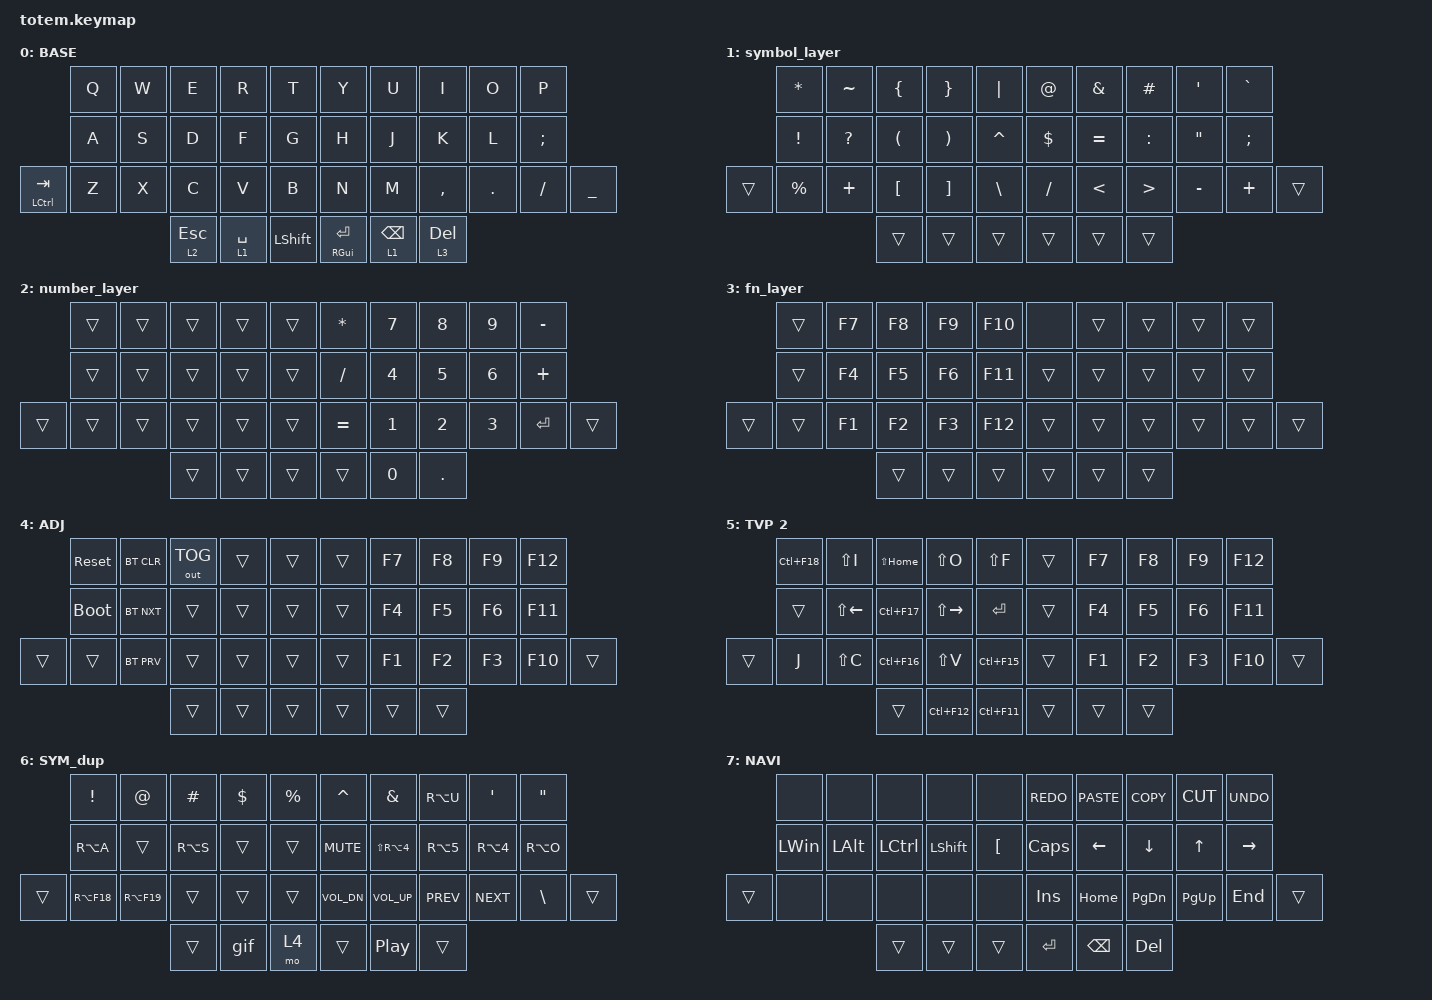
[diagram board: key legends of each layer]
//
//                                                        ▀▀▀▀▀     ▀▀▀▀▀          ▀▀█▀▀
//                                                        ▄▀▀▀▄  ▄  ▄▀▀▀▄  ▄  ▄▀▀▀▄  █  ▄▀▀▀▄
//                                                        █   █  █  █   █  █  █   █  █  █   █
//                                                         ▀▀▀   █   ▀▀▀   █   ▀▀▀   ▀   ▀▀▀
//                                                               █      ▄▄▄█▄▄▄    █   █  
//                                                               ▀      █  █  █     █▄█
//                                                             ▀▀▀▀▀    █  █  █      ▀
//                                                                      ▀  ▀  ▀
//
// ▄▄▄▄▄▄▄▄▄▄▄▄▄▄▄▄▄▄▄▄▄▄▄▄▄▄▄▄▄▄▄▄▄▄▄▄▄▄▄▄▄▄▄▄▄▄▄▄▄▄▄▄▄▄▄▄▄▄▄▄▄▄▄▄▄▄▄▄▄▄▄▄▄▄▄▄▄▄▄▄▄▄▄▄▄▄▄▄▄▄▄▄▄▄▄▄▄▄▄▄▄▄▄▄▄▄▄▄▄▄▄▄▄▄▄▄▄▄▄▄▄▄▄▄▄▄▄▄▄▄▄▄▄▄▄▄▄▄▄▄▄▄▄▄▄▄▄▄▄

#include <behaviors.dtsi>
#include <dt-bindings/zmk/bt.h>
#include <dt-bindings/zmk/keys.h>
#include <dt-bindings/zmk/outputs.h>

#define BASE 0
#define NAV  1
#define SYM  2
#define ADJ  3
#define TVP1 4
#define TVP2 5

/ {
    combos {
        compatible = "zmk,combos";

        combo_esc {
            timeout-ms = <50>;
            key-positions = <0 1>;
            bindings = <&kp ESC>;
        };

        combo_tvp {
            timeout-ms = <100>;
            key-positions = <11 12 13>;
            bindings = <&tog 0>;
        };
    };

    macros {
        gif: gif {
            label = "giphy";
            compatible = "zmk,behavior-macro";
            #binding-cells = <0>;
            bindings =
                <&macro_press>,
                <&kp LSHFT>,
                <&macro_tap>,
                <&kp N2>,
                <&macro_release>,
                <&kp LSHFT>,
                <&macro_tap>,
                <&kp G &kp I &kp F>;
        };
    };

    behaviors {
        tap_or_hold: tap_or_hold {
            compatible = "zmk,behavior-hold-tap";
            label = "TAP_OR_HOLD";
            bindings = <&to>, <&kp>;

            #binding-cells = <2>;
            tapping-term-ms = <60>;
        };
    };

    keymap {
        compatible = "zmk,keymap";

        // ▄▄▄▄▄▄▄▄▄▄▄▄▄▄▄▄▄▄▄▄▄▄▄▄▄▄▄▄▄▄▄▄▄▄▄▄▄▄▄▄▄▄▄▄▄▄▄▄▄▄▄▄▄▄▄▄▄▄▄▄▄▄▄▄▄▄▄▄▄▄▄▄▄▄▄▄▄▄▄▄▄▄▄▄▄▄▄▄▄▄▄▄▄▄▄▄▄▄▄▄▄▄▄▄▄▄▄▄▄▄▄▄▄▄▄▄▄▄▄▄▄▄▄▄▄▄▄▄▄▄▄▄▄▄▄▄▄▄▄▄▄▄▄▄▄▄▄▄▄

        base_layer {
            // ┏━━━━━━━━━━━━━━━━━━━━━━━━━━━━━━━━━━━━━━━┓

            label = "BASE";

            // ┗━━━━━━━━━━━━━━━━━━━━━━━━━━━━━━━━━━━━━━━┛
            //             ┏━━━━━━━━━━━┳━━━━━━━━━━━┳━━━━━━━━━━━┳━━━━━━━━━━━┳━━━━━━━━━━━┓   ┏━━━━━━━━━━━┳━━━━━━━━━━━┳━━━━━━━━━━━┳━━━━━━━━━━━┳━━━━━━━━━━━┓
            //             ┃     Q     ┃     W     ┃     F     ┃     P     ┃     G     ┃   ┃     J     ┃     L     ┃     U     ┃     Y     ┃     ;     ┃
            //             ┣━━━━━━━━━━━╋━━━━━━━━━━━╋━━━━━━━━━━━╋━━━━━━━━━━━╋━━━━━━━━━━━┫   ┣━━━━━━━━━━━╋━━━━━━━━━━━╋━━━━━━━━━━━╋━━━━━━━━━━━╋━━━━━━━━━━━┫
            //             ┃     A     ┃     R     ┃     S     ┃     T     ┃     D     ┃   ┃     H     ┃     N     ┃     E     ┃     I     ┃     O     ┃
            // ┏━━━━━━━━━━━╋━━━━━━━━━━━╋━━━━━━━━━━━╋━━━━━━━━━━━╋━━━━━━━━━━━╋━━━━━━━━━━━┫   ┣━━━━━━━━━━━╋━━━━━━━━━━━╋━━━━━━━━━━━╋━━━━━━━━━━━╋━━━━━━━━━━━╋━━━━━━━━━━━┓
            // ┃     Q     ┃     Z     ┃     X     ┃     C     ┃     V     ┃     B     ┃   ┃     K     ┃     M     ┃     ,     ┃     .     ┃     /     ┃     \     ┃
            // ┗━━━━━━━━━━━┻━━━━━━━━━━━┻━━━━━━━━━━━╋━━━━━━━━━━━╋━━━━━━━━━━━╋━━━━━━━━━━━┫   ┣━━━━━━━━━━━╋━━━━━━━━━━━╋━━━━━━━━━━━╋━━━━━━━━━━━┻━━━━━━━━━━━┻━━━━━━━━━━━┛
            //                                     ┃    DEL    ┃    TAB    ┃    SPC    ┃   ┃   ENTER   ┃           ┃   BSPC    ┃
            //                                     ┗━━━━━━━━━━━┻━━━━━━━━━━━┻━━━━━━━━━━━┛   ┗━━━━━━━━━━━┻━━━━━━━━━━━┻━━━━━━━━━━━┛

            bindings = <
                      &kp Q  &kp W  &kp E         &kp R        &kp T             &kp Y                &kp U            &kp I         &kp O    &kp P
                      &kp A  &kp S  &kp D         &kp F        &kp G             &kp H                &kp J            &kp K         &kp L    &kp SEMI
&mt LEFT_CONTROL TAB  &kp Z  &kp X  &kp C         &kp V        &kp B             &kp N                &kp M            &kp COMMA     &kp DOT  &kp FSLH  &kp UNDERSCORE
                                    &lt 2 ESCAPE  &lt 1 SPACE  &kp LEFT_SHIFT    &mt RIGHT_GUI ENTER  &lt 1 BACKSPACE  &lt 3 DELETE
            >;
        };

        symbol_layer {
            bindings = <
        &kp ASTERISK  &kp TILDE     &kp LEFT_BRACE        &kp RIGHT_BRACE        &kp PIPE         &kp AT_SIGN  &kp AMPERSAND  &kp HASH          &kp SINGLE_QUOTE   &kp GRAVE
        &kp EXCL      &kp QUESTION  &kp LEFT_PARENTHESIS  &kp RIGHT_PARENTHESIS  &kp CARET        &kp DOLLAR   &kp EQUAL      &kp COLON         &kp DOUBLE_QUOTES  &kp SEMI
&trans  &kp PERCENT   &kp PLUS      &kp LEFT_BRACKET      &kp RIGHT_BRACKET      &kp BACKSLASH    &kp SLASH    &kp LESS_THAN  &kp GREATER_THAN  &kp MINUS          &kp PLUS   &trans
                                    &trans                &trans                 &trans           &trans       &trans         &trans
            >;
        };

        number_layer {
            bindings = <
        &trans  &trans  &trans  &trans  &trans    &kp ASTRK  &kp N7  &kp N8      &kp N9  &kp MINUS
        &trans  &trans  &trans  &trans  &trans    &kp FSLH   &kp N4  &kp N5      &kp N6  &kp PLUS
&trans  &trans  &trans  &trans  &trans  &trans    &kp EQUAL  &kp N1  &kp N2      &kp N3  &kp ENTER  &trans
                        &trans  &trans  &trans    &trans     &kp N0  &kp PERIOD
            >;
        };

        fn_layer {
            bindings = <
        &trans  &kp F7  &kp F8  &kp F9  &kp F10    &none   &trans  &trans  &trans  &trans
        &trans  &kp F4  &kp F5  &kp F6  &kp F11    &trans  &trans  &trans  &trans  &trans
&trans  &trans  &kp F1  &kp F2  &kp F3  &kp F12    &trans  &trans  &trans  &trans  &trans  &trans
                        &trans  &trans  &trans     &trans  &trans  &trans
            >;
        };

        adjust_layer {
            // ┏━━━━━━━━━━━━━━━━━━━━━━━━━━━━━━━━━━━━━━━┓

            label = "ADJ";

            // ┗━━━━━━━━━━━━━━━━━━━━━━━━━━━━━━━━━━━━━━━┛
            //             ┏━━━━━━━━━━━┳━━━━━━━━━━━┳━━━━━━━━━━━┳━━━━━━━━━━━┳━━━━━━━━━━━┓   ┏━━━━━━━━━━━┳━━━━━━━━━━━┳━━━━━━━━━━━┳━━━━━━━━━━━┳━━━━━━━━━━━┓
            //             ┃   RESET   ┃ BT CLEAR  ┃  OUT TOG  ┃           ┃           ┃   ┃           ┃    F7     ┃    F8     ┃    F9     ┃    F12    ┃
            //             ┣━━━━━━━━━━━╋━━━━━━━━━━━╋━━━━━━━━━━━╋━━━━━━━━━━━╋━━━━━━━━━━━┫   ┣━━━━━━━━━━━╋━━━━━━━━━━━╋━━━━━━━━━━━╋━━━━━━━━━━━╋━━━━━━━━━━━┫
            //             ┃ BOOTLOAD  ┃ BT NEXT   ┃           ┃           ┃           ┃   ┃           ┃    F4     ┃    F5     ┃    F6     ┃    F11    ┃
            // ┏━━━━━━━━━━━╋━━━━━━━━━━━╋━━━━━━━━━━━╋━━━━━━━━━━━╋━━━━━━━━━━━╋━━━━━━━━━━━┫   ┣━━━━━━━━━━━╋━━━━━━━━━━━╋━━━━━━━━━━━╋━━━━━━━━━━━╋━━━━━━━━━━━╋━━━━━━━━━━━┓
            // ┃           ┃           ┃ BT PREV   ┃           ┃           ┃           ┃   ┃           ┃    F1     ┃    F2     ┃    F3     ┃    F10    ┃           ┃
            // ┗━━━━━━━━━━━┻━━━━━━━━━━━┻━━━━━━━━━━━╋━━━━━━━━━━━╋━━━━━━━━━━━╋━━━━━━━━━━━┫   ┣━━━━━━━━━━━╋━━━━━━━━━━━╋━━━━━━━━━━━╋━━━━━━━━━━━┻━━━━━━━━━━━┻━━━━━━━━━━━┛
            //                                     ┃           ┃           ┃           ┃   ┃           ┃           ┃           ┃
            //                                     ┗━━━━━━━━━━━┻━━━━━━━━━━━┻━━━━━━━━━━━┛   ┗━━━━━━━━━━━┻━━━━━━━━━━━┻━━━━━━━━━━━┛

            bindings = <
        &sys_reset   &bt BT_CLR  &out OUT_TOG  &trans  &trans    &trans  &kp F7  &kp F8  &kp F9  &kp F12
        &bootloader  &bt BT_NXT  &trans        &trans  &trans    &trans  &kp F4  &kp F5  &kp F6  &kp F11
&trans  &trans       &bt BT_PRV  &trans        &trans  &trans    &trans  &kp F1  &kp F2  &kp F3  &kp F10  &trans
                                 &trans        &trans  &trans    &trans  &trans  &trans
            >;
        };

        tvp2_layer {
            // ┏━━━━━━━━━━━━━━━━━━━━━━━━━━━━━━━━━━━━━━━┓

            label = "TVP 2";

            // ┗━━━━━━━━━━━━━━━━━━━━━━━━━━━━━━━━━━━━━━━┛
            //             ┏━━━━━━━━━━━┳━━━━━━━━━━━┳━━━━━━━━━━━┳━━━━━━━━━━━┳━━━━━━━━━━━┓   ┏━━━━━━━━━━━┳━━━━━━━━━━━┳━━━━━━━━━━━┳━━━━━━━━━━━┳━━━━━━━━━━━┓
            //             ┃ SOLO      ┃ TOGGLE IN ┃ RESET ROT ┃ TOGGLE OUT┃ TAKE SNAP ┃   ┃           ┃           ┃           ┃           ┃           ┃
            //             ┣━━━━━━━━━━━╋━━━━━━━━━━━╋━━━━━━━━━━━╋━━━━━━━━━━━╋━━━━━━━━━━━┫   ┣━━━━━━━━━━━╋━━━━━━━━━━━╋━━━━━━━━━━━╋━━━━━━━━━━━╋━━━━━━━━━━━┫
            //             ┃ ---       ┃ LAST KEY  ┃ NEW KEY   ┃ NEXT KEY  ┃ ENTER     ┃   ┃           ┃           ┃           ┃           ┃           ┃
            // ┏━━━━━━━━━━━╋━━━━━━━━━━━╋━━━━━━━━━━━╋━━━━━━━━━━━╋━━━━━━━━━━━╋━━━━━━━━━━━┫   ┣━━━━━━━━━━━╋━━━━━━━━━━━╋━━━━━━━━━━━╋━━━━━━━━━━━╋━━━━━━━━━━━╋━━━━━━━━━━━┓
            // ┃           ┃ FULLSCR   ┃ CPY2BRUSH ┃ DEL HEAD  ┃ PSTinPLACE┃ BOOK MARK ┃   ┃           ┃           ┃           ┃           ┃           ┃           ┃
            // ┗━━━━━━━━━━━┻━━━━━━━━━━━┻━━━━━━━━━━━╋━━━━━━━━━━━╋━━━━━━━━━━━╋━━━━━━━━━━━┫   ┣━━━━━━━━━━━╋━━━━━━━━━━━╋━━━━━━━━━━━╋━━━━━━━━━━━┻━━━━━━━━━━━┻━━━━━━━━━━━┛
            //                                     ┃           ┃ REDO/SAV1 ┃TRANS/WARP ┃   ┃           ┃           ┃           ┃
            //                                     ┗━━━━━━━━━━━┻━━━━━━━━━━━┻━━━━━━━━━━━┛   ┗━━━━━━━━━━━┻━━━━━━━━━━━┻━━━━━━━━━━━┛

            bindings = <
        &kp LC(F18)  &kp LS(I)     &kp LS(HOME)  &kp LS(O)      &kp LS(F)      &trans  &kp F7  &kp F8  &kp F9  &kp F12
        &trans       &kp LS(LEFT)  &kp LC(F17)   &kp LS(RIGHT)  &kp RET        &trans  &kp F4  &kp F5  &kp F6  &kp F11
&trans  &kp J        &kp LS(C)     &kp LC(F16)   &kp LS(V)      &kp LC(F15)    &trans  &kp F1  &kp F2  &kp F3  &kp F10  &trans
                                   &trans        &kp LC(F12)    &kp LC(F11)    &trans  &trans  &trans
            >;
        };

        layer_6 {
            label = "SYM_dup";
            bindings = <
        &kp EXCL     &kp AT       &kp HASH   &kp DLLR  &kp PRCNT    &kp CARET     &kp AMPS        &kp RA(U)   &kp SQT     &kp DQT
        &kp RA(A)    &trans       &kp RA(S)  &trans    &trans       &kp C_MUTE    &kp LS(RA(N4))  &kp RA(N5)  &kp RA(N4)  &kp RA(O)
&trans  &kp RA(F18)  &kp RA(F19)  &trans     &trans    &trans       &kp C_VOL_DN  &kp C_VOL_UP    &kp C_PREV  &kp C_NEXT  &kp BSLH   &trans
                                  &trans     &gif      &mo 4        &trans        &kp C_PP        &trans
            >;
        };

        layer_7 {
            label = "NAVI";
            bindings = <
        &none         &none     &none      &none      &none       &kp K_REDO    &kp K_PASTE    &kp K_COPY      &kp K_CUT     &kp K_UNDO
        &kp LEFT_WIN  &kp LALT  &kp LCTRL  &kp LSHFT  &kp LBKT    &kp CAPSLOCK  &kp LEFT       &kp DOWN_ARROW  &kp UP_ARROW  &kp RIGHT_ARROW
&trans  &none         &none     &none      &none      &none       &kp INSERT    &kp HOME       &kp PAGE_DOWN   &kp PAGE_UP   &kp END          &trans
                                &trans     &trans     &trans      &kp ENTER     &kp BACKSPACE  &kp DELETE
            >;
        };
    };
};
